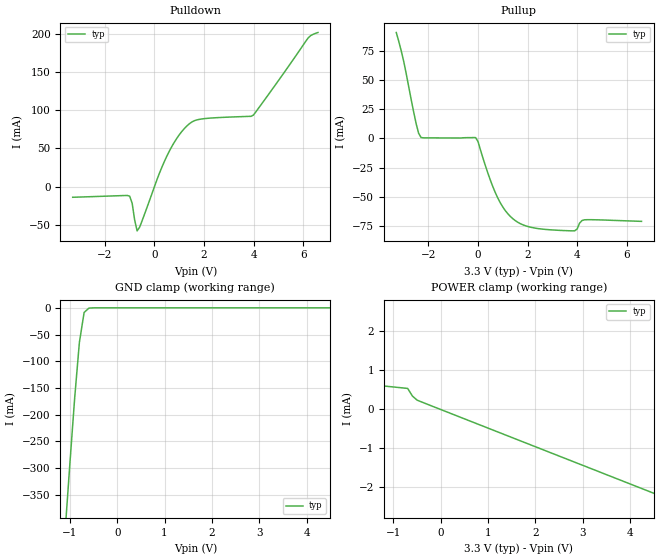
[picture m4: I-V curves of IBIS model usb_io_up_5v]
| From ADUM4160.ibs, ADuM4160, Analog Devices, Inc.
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|   Model usb_io_up_5v
| Models USB I/O pin UD+ with PWR clamp connected to VBUS1 = 5.0 V.
| (On-chip VDD1 voltage regulator is enabled).
| This model includes 2.1k ohm pullup resistance in its PWR_clamp,
| ...and thus is used for the UD+ pin ONLY (and not UD-).
[Model]   usb_io_up_5v
Model_type   I/O
Polarity   Non-Inverting
Vinl = 0.8V
Vinh = 2.0V
Vmeas = 1.5V
Cref = 50pF
Rref = 1e6
Vref = 0
C_comp   1.00pF   1.00pF   1.00pF
[Temperature Range]   27.00   125.00   -40.00
[Voltage Range]   3.30V   3.00V   3.60V
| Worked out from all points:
|   slope of the pulldown table from 0 to 0.495 V, typ, clamps not added: 12.5 ohm
|   slope of the pullup table from 0 to 0.495 V, typ, clamps not added: 15.1 ohm
|   GND clamp passes 1 mA (typ) near -0.60 V on its own axis
|   POWER clamp passes 1 mA (typ) near -2.90 V on its own axis
[GND_clamp]
| voltage(V) I(typ)(A)   I(min)(A)   I(max)(A)
-3.3V     -3.274A    NA         NA
-1.1V     -416.2mA   NA         NA
-1V       -290.8mA   NA         NA
-900mV    -169.4mA   NA         NA
-800mV    -64.9mA    NA         NA
-700mV    -8.761mA   NA         NA
-600mV    -599.7uA   NA         NA
6.6V      0A         NA         NA
[POWER_clamp]
| Note that the[POWER_clamp]voltage table is referenced to Vcc
| and is calculated using Vtable = Vcc - Vmeasured.
| voltage(V) I(typ)(A)   I(min)(A)   I(max)(A)
-3.3V     12.14mA    NA         NA
-3.1V     4.489mA    NA         NA
-3V       1.998mA    NA         NA
-2.9V     948.5uA    NA         NA
-2.8V     800uA      NA         NA
-700mV    524.7uA    NA         NA
-600mV    329.1uA    NA         NA
-500mV    222.5uA    NA         NA
5.6V      -2.696mA   NA         NA
6.6V      -3.174mA   NA         NA
[Pulldown]
| voltage(V) I(typ)(A)   I(min)(A)   I(max)(A)
-3.3V     -13.96mA   NA         NA
-1V       -12.52mA   NA         NA
-900mV    -21.8mA    NA         NA
-800mV    -43.56mA   NA         NA
-700mV    -57.97mA   NA         NA
400mV     32.88mA    NA         NA
800mV     58.04mA    NA         NA
1.2V      75.82mA    NA         NA
1.8V      88.06mA    NA         NA
4V        93.82mA    NA         NA
6.2V      194.6mA    NA         NA
6.6V      201.9mA    NA         NA
[Pullup]
| Note that the[Pullup]voltage table is referenced to Vcc
| and is calculated using Vtable = Vcc - Vmeasured.
| voltage(V) I(typ)(A)   I(min)(A)   I(max)(A)
-3.3V     90.5mA     NA         NA
-3V       65.85mA    NA         NA
-2.5V     12.83mA    NA         NA
-2.3V     775.8uA    NA         NA
-100mV    728.5uA    NA         NA
800mV     -51mA      NA         NA
1.1V      -61.64mA   NA         NA
1.5V      -70.17mA   NA         NA
2.3V      -76.63mA   NA         NA
3.8V      -79.01mA   NA         NA
4.3V      -69.56mA   NA         NA
6.6V      -70.89mA   NA         NA
[Ramp]
|variable   typ   min   max
dV/dt_r   1.980/5.0n   NA   NA
dV/dt_f   1.980/5.0n   NA   NA
R_load = 1MEG
| End [Model] usb_io_up_5v
